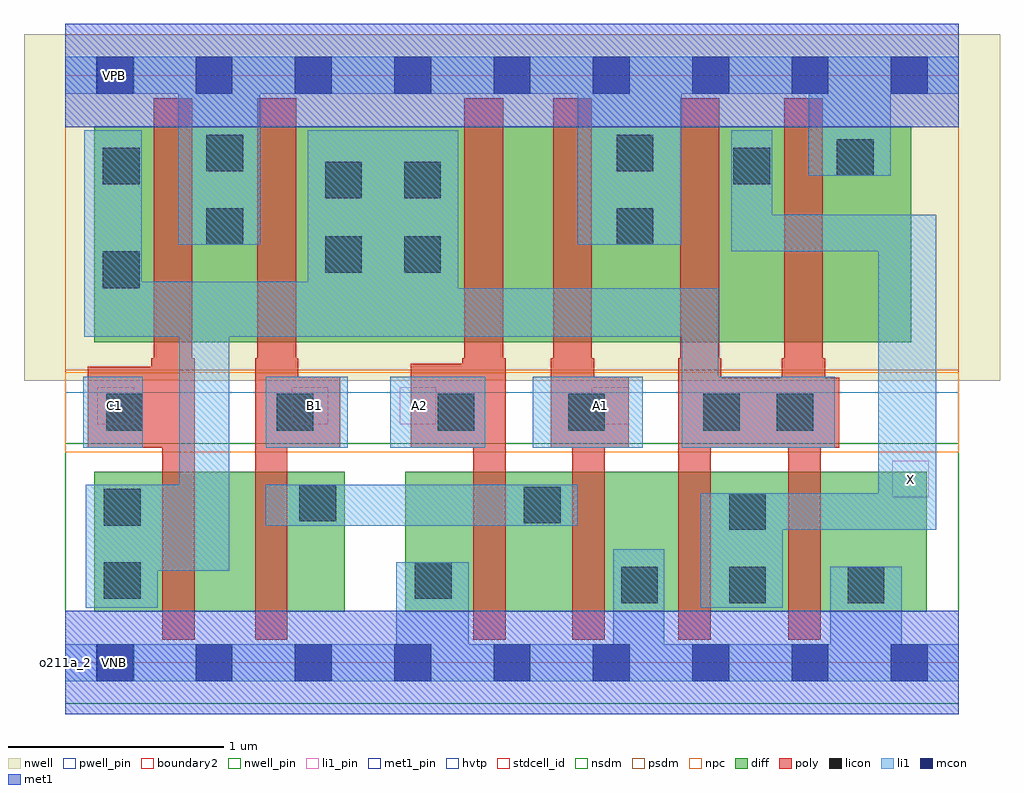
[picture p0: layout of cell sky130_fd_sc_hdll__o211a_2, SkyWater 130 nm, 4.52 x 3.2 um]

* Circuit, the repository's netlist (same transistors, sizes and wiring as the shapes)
* Copyright 2020 The SkyWater PDK Authors
*
* Licensed under the Apache License, Version 2.0 (the "License");
* you may not use this file except in compliance with the License.
* You may obtain a copy of the License at
*
*     https://www.apache.org/licenses/LICENSE-2.0
*
* Unless required by applicable law or agreed to in writing, software
* distributed under the License is distributed on an "AS IS" BASIS,
* WITHOUT WARRANTIES OR CONDITIONS OF ANY KIND, either express or implied.
* See the License for the specific language governing permissions and
* limitations under the License.
*
* SPDX-License-Identifier: Apache-2.0

.SUBCKT sky130_fd_sc_hdll__o211a_2 A1 A2 B1 C1 VGND VNB VPB VPWR X
*.PININFO A1:I A2:I B1:I C1:I VGND:I VNB:I VPB:I VPWR:I X:O
MMPA0 VPWR A1 sndA1 VPB sky130_fd_pr__pfet_01v8_hvt m=1 w=1.0U l=0.18U mult=1 sa=0.265
+ sb=0.265 sd=0.28 area=0.063 perim=1.14
MMPA1 sndA1 A2 y VPB sky130_fd_pr__pfet_01v8_hvt m=1 w=1.0U l=0.18U mult=1 sa=0.265
+ sb=0.265 sd=0.28 area=0.063 perim=1.14
MMPB0 VPWR B1 y VPB sky130_fd_pr__pfet_01v8_hvt m=1 w=1.0U l=0.18U mult=1 sa=0.265
+ sb=0.265 sd=0.28 area=0.063 perim=1.14
MMPC0 VPWR C1 y VPB sky130_fd_pr__pfet_01v8_hvt m=1 w=1.0U l=0.18U mult=1 sa=0.265
+ sb=0.265 sd=0.28 area=0.063 perim=1.14
MMIPX X y VPWR VPB sky130_fd_pr__pfet_01v8_hvt m=2 w=1.0U l=0.18U mult=1 sa=0.265
+ sb=0.265 sd=0.28 area=0.063 perim=1.14
MMNA0 pndA A1 VGND VNB sky130_fd_pr__nfet_01v8 m=1 w=0.65U l=0.15U mult=1 sa=0.265
+ sb=0.265 sd=0.28 area=0.063 perim=1.14
MMNA1 pndA A2 VGND VNB sky130_fd_pr__nfet_01v8 m=1 w=0.65U l=0.15U mult=1 sa=0.265
+ sb=0.265 sd=0.28 area=0.063 perim=1.14
MMNB0 pndB B1 pndA VNB sky130_fd_pr__nfet_01v8 m=1 w=0.65U l=0.15U mult=1 sa=0.265
+ sb=0.265 sd=0.28 area=0.063 perim=1.14
MMNC0 y C1 pndB VNB sky130_fd_pr__nfet_01v8 m=1 w=0.65U l=0.15U mult=1 sa=0.265
+ sb=0.265 sd=0.28 area=0.063 perim=1.14
MMINX X y VGND VNB sky130_fd_pr__nfet_01v8 m=2 w=0.65U l=0.15U mult=1 sa=0.265
+ sb=0.265 sd=0.28 area=0.063 perim=1.14
.ENDS sky130_fd_sc_hdll__o211a_2

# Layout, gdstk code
import gdstk
lib = gdstk.Library(unit=1e-6, precision=1e-09)
def R(c, l, rs):  # rectangles x0, y0, x1, y1
    for r in rs: c.add(gdstk.rectangle(r[:2], r[2:], *l))
def A(c, l, x, y, w, h, nx, ny, dx, dy):  # array of equal rectangles
    R(c, l, [(x+i*dx, y+j*dy, x+i*dx+w, y+j*dy+h) for i in range(nx) for j in range(ny)])
def P(c, l, *ps):  # polygons
    for p in ps: c.add(gdstk.Polygon(p, *l))
nwell_pin = (64, 16)
nwell = (64, 20)
diff = (65, 20)
poly = (66, 20)
licon = (66, 44)
li1_pin = (67, 16)
li1 = (67, 20)
mcon = (67, 44)
met1_pin = (68, 16)
met1 = (68, 20)
hvtp = (78, 44)
stdcell_id = (81, 4)
nsdm = (93, 44)
psdm = (94, 20)
npc = (95, 20)
pwell_pin = (122, 16)
boundary2 = (236, 0)

sky130_fd_sc_hdll__o211a = lib.new_cell('sky130_fd_sc_hdll__o211a_2')
R(sky130_fd_sc_hdll__o211a, nwell_pin, [(0.15,2.635,0.32,2.805)])
R(sky130_fd_sc_hdll__o211a, nwell, [(-0.19,1.305,4.33,2.91)])
R(sky130_fd_sc_hdll__o211a, diff, [(0.135,0.235,1.295,0.885), (1.575,0.235,3.99,0.885), (0.135,1.485,3.92,2.485)])
P(sky130_fd_sc_hdll__o211a, poly, [(0.6,1.41),(0.59,1.41),(0.59,2.615),(0.41,2.615),(0.41,1.41),(0.4,1.41),(0.4,1.37),(0.105,1.37),(0.105,0.995),(0.45,0.995),(0.45,0.105),(0.6,0.105)],
  [(1.275,1.325),(1.08,1.325),(1.08,1.41),(1.07,1.41),(1.07,2.615),(0.89,2.615),(0.89,1.41),(0.88,1.41),(0.88,0.105),(1.03,0.105),(1.03,0.995),(1.275,0.995)],
  [(2.04,1.41),(2.03,1.41),(2.03,2.615),(1.85,2.615),(1.85,1.41),(1.84,1.41),(1.84,1.385),(1.6,1.385),(1.6,0.995),(1.89,0.995),(1.89,0.105),(2.04,0.105)],
  [(2.61,1.325),(2.45,1.325),(2.45,1.41),(2.44,1.41),(2.44,2.615),(2.26,2.615),(2.26,1.41),(2.25,1.41),(2.25,0.995),(2.35,0.995),(2.35,0.105),(2.5,0.105),(2.5,0.995),(2.61,0.995)],
  [(3.585,1.32),(3.52,1.32),(3.52,1.41),(3.51,1.41),(3.51,2.615),(3.33,2.615),(3.33,1.41),(3.32,1.41),(3.32,1.32),(3.04,1.32),(3.04,1.41),(3.03,1.41),(3.03,2.615),(2.85,2.615),(2.85,1.41),(2.84,1.41),(2.84,0.105),(2.99,0.105),(2.99,0.995),(3.35,0.995),(3.35,0.105),(3.5,0.105),(3.5,0.995),(3.585,0.995)])
R(sky130_fd_sc_hdll__o211a, licon, [(2.575,0.275,2.745,0.445), (3.075,0.275,3.245,0.445), (3.625,0.275,3.795,0.445), (0.18,0.295,0.35,0.465), (1.62,0.295,1.79,0.465), (3.075,0.615,3.245,0.785), (0.18,0.635,0.35,0.805), (2.125,0.645,2.295,0.815), (1.085,0.655,1.255,0.825), (0.19,1.075,0.36,1.245), (0.98,1.075,1.15,1.245), (1.725,1.075,1.895,1.245), (2.33,1.075,2.5,1.245), (2.955,1.075,3.125,1.245), (3.295,1.075,3.465,1.245), (0.175,1.735,0.345,1.905), (1.205,1.805,1.375,1.975), (1.57,1.805,1.74,1.975), (0.655,1.935,0.825,2.105), (2.555,1.935,2.725,2.105), (1.205,2.15,1.375,2.32), (1.57,2.15,1.74,2.32), (0.175,2.215,0.345,2.385), (3.095,2.215,3.265,2.385), (3.575,2.255,3.745,2.425), (0.655,2.275,0.825,2.445), (2.555,2.275,2.725,2.445)])
R(sky130_fd_sc_hdll__o211a, li1_pin, [(3.83,0.765,4,0.935), (0.15,1.105,0.32,1.275), (1.05,1.105,1.22,1.275), (1.55,1.105,1.72,1.275), (2.44,1.105,2.61,1.275)])
R(sky130_fd_sc_hdll__o211a, li1, [(0.93,0.635,2.375,0.825), (0.085,0.995,0.36,1.325), (0.93,0.995,1.31,1.325), (1.505,0.995,1.945,1.325), (2.165,0.995,2.675,1.325)])
P(sky130_fd_sc_hdll__o211a, li1, [(4.14,0.085),(3.875,0.085),(3.875,0.445),(3.545,0.445),(3.545,0.085),(2.775,0.085),(2.775,0.525),(2.54,0.525),(2.54,0.085),(1.87,0.085),(1.87,0.465),(1.535,0.465),(1.535,0.085),(0,0.085),(0,-0.085),(4.14,-0.085)],
  [(4.14,2.805),(0,2.805),(0,2.635),(0.525,2.635),(0.525,1.935),(0.905,1.935),(0.905,2.635),(2.375,2.635),(2.375,1.935),(2.855,1.935),(2.855,2.635),(3.445,2.635),(3.445,2.255),(3.825,2.255),(3.825,2.635),(4.14,2.635)],
  [(3.565,1.325),(3.025,1.325),(3.025,1.735),(1.82,1.735),(1.82,2.465),(1.125,2.465),(1.125,1.765),(0.355,1.765),(0.355,2.465),(0.09,2.465),(0.09,1.51),(0.53,1.51),(0.53,0.825),(0.095,0.825),(0.095,0.255),(0.43,0.255),(0.43,0.425),(0.76,0.425),(0.76,1.51),(2.855,1.51),(2.855,0.995),(3.565,0.995)],
  [(4.035,2.075),(3.275,2.075),(3.275,2.465),(3.085,2.465),(3.085,1.905),(3.765,1.905),(3.765,0.785),(2.945,0.785),(2.945,0.255),(3.325,0.255),(3.325,0.615),(4.035,0.615)])
A(sky130_fd_sc_hdll__o211a, mcon, 0.145, -0.085, 0.17, 0.17, 9, 2, 0.46, 2.72)
R(sky130_fd_sc_hdll__o211a, met1_pin, [(0.15,-0.085,0.32,0.085), (0.15,2.635,0.32,2.805)])
R(sky130_fd_sc_hdll__o211a, met1, [(0,-0.24,4.14,0.24), (0,2.48,4.14,2.96)])
R(sky130_fd_sc_hdll__o211a, hvtp, [(0,1.25,4.14,2.72)])
R(sky130_fd_sc_hdll__o211a, stdcell_id, [(0,0,4.14,2.72)])
R(sky130_fd_sc_hdll__o211a, nsdm, [(0,-0.19,4.14,1.015)])
R(sky130_fd_sc_hdll__o211a, psdm, [(0,1.355,4.14,2.91)])
R(sky130_fd_sc_hdll__o211a, npc, [(0,0.975,4.14,1.345)])
R(sky130_fd_sc_hdll__o211a, pwell_pin, [(0.15,-0.085,0.32,0.085)])
R(sky130_fd_sc_hdll__o211a, boundary2, [(0,0,4.14,2.72)])
sky130_fd_sc_hdll__o211a.add(gdstk.Label('C1', (0.23,1.19), layer=67, texttype=5))
sky130_fd_sc_hdll__o211a.add(gdstk.Label('B1', (1.155,1.19), layer=67, texttype=5))
sky130_fd_sc_hdll__o211a.add(gdstk.Label('A2', (1.64,1.19), layer=67, texttype=5))
sky130_fd_sc_hdll__o211a.add(gdstk.Label('A1', (2.48,1.19), layer=67, texttype=5))
sky130_fd_sc_hdll__o211a.add(gdstk.Label('X', (3.915,0.85), layer=67, texttype=5))
sky130_fd_sc_hdll__o211a.add(gdstk.Label('VNB', (0.23,0), layer=64, texttype=59))
sky130_fd_sc_hdll__o211a.add(gdstk.Label('VPB', (0.23,2.72), layer=64, texttype=5))
sky130_fd_sc_hdll__o211a.add(gdstk.Label('VPWR', (0.23,2.72), layer=68, texttype=5))
sky130_fd_sc_hdll__o211a.add(gdstk.Label('VGND', (0.23,0), layer=68, texttype=5))
sky130_fd_sc_hdll__o211a.add(gdstk.Label('o211a_2', (0,0), layer=83, texttype=44))

lib.write_gds('sky130_fd_sc_hdll__o211a_2.gds')
